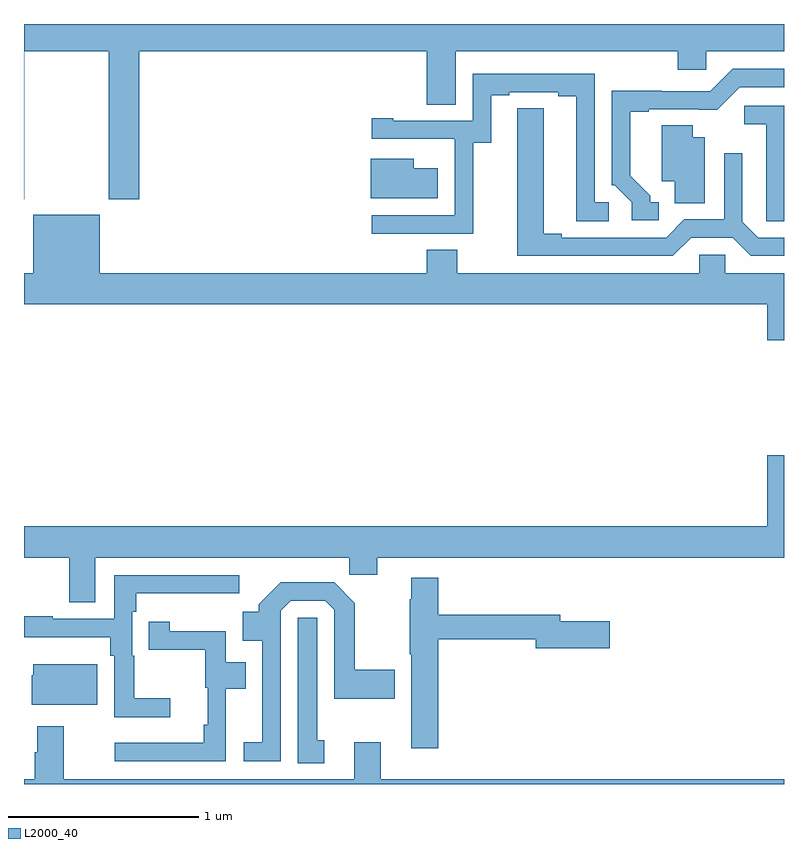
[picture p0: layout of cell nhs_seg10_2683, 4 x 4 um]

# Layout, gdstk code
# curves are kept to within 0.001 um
import gdstk
lib = gdstk.Library(unit=1e-6, precision=1e-09)
def P(c, l, *ps):  # polygons
    for p in ps: c.add(gdstk.Polygon(p, *l))
L2000_40 = (2000, 40)

nhs_seg10_2683 = lib.new_cell('nhs_seg10_2683')
P(nhs_seg10_2683, L2000_40, [(257.001,1260.356),(257.446,1260.356),(257.446,1259.577),(257.606,1259.577),(257.606,1260.356),(259.121,1260.356),(259.121,1260.076),(259.273,1260.076),(259.273,1260.356),(260.441,1260.356),(260.441,1260.258),(260.592,1260.258),(260.592,1260.356),(261,1260.356),(261,1260.5),(257,1260.5),(257,1259.577),(257.001,1259.577)],
  [(260.341,1259.562),(260.296,1259.562),(260.296,1259.597),(260.191,1259.702),(260.191,1260.039),(260.287,1260.039),(260.287,1260.051),(260.648,1260.05),(260.766,1260.168),(261,1260.168),(261,1260.264),(260.73,1260.264),(260.613,1260.147),(260.357,1260.147),(260.357,1260.149),(260.094,1260.149),(260.094,1259.652),(260.109,1259.652),(260.199,1259.562),(260.199,1259.466),(260.341,1259.466)],
  [(259.365,1259.875),(259.459,1259.875),(259.459,1260.126),(259.555,1260.126),(259.555,1260.141),(259.811,1260.141),(259.811,1260.121),(259.907,1260.121),(259.907,1259.461),(260.077,1259.461),(260.077,1259.562),(260.004,1259.562),(260.004,1260.237),(259.362,1260.237),(259.362,1259.991),(258.943,1259.991),(258.943,1260.004),(258.831,1260.004),(258.831,1259.895),(259.265,1259.895),(259.265,1259.894),(259.266,1259.894),(259.266,1259.493),(258.831,1259.493),(258.831,1259.397),(259.365,1259.397)],
  [(261,1260.069),(260.79,1260.069),(260.79,1259.972),(260.906,1259.972),(260.906,1259.569),(260.907,1259.569),(260.907,1259.461),(261,1259.461)],
  [(260.511,1259.376),(260.729,1259.376),(260.825,1259.28),(261,1259.28),(261,1259.376),(260.865,1259.376),(260.781,1259.46),(260.781,1259.821),(260.685,1259.821),(260.685,1259.472),(260.475,1259.472),(260.379,1259.376),(259.831,1259.376),(259.831,1259.396),(259.735,1259.396),(259.735,1260.056),(259.596,1260.056),(259.595,1259.28),(260.415,1259.28)],
  [(260.584,1259.905),(260.521,1259.905),(260.521,1259.966),(260.357,1259.966),(260.357,1259.672),(260.426,1259.672),(260.426,1259.557),(260.584,1259.557)],
  [(259.177,1259.74),(259.051,1259.74),(259.051,1259.791),(258.824,1259.791),(258.824,1259.582),(259.177,1259.582)],
  [(261,1259.188),(260.691,1259.188),(260.691,1259.286),(260.553,1259.286),(260.553,1259.188),(259.281,1259.188),(259.281,1259.312),(259.121,1259.312),(259.121,1259.188),(257.398,1259.188),(257.398,1259.497),(257.048,1259.497),(257.048,1259.188),(257,1259.188),(257,1259.024),(260.912,1259.024),(260.912,1258.836),(261,1258.836)],
  [(257.374,1257.692),(258.712,1257.692),(258.712,1257.602),(258.859,1257.602),(258.859,1257.692),(261,1257.692),(261,1258.231),(260.912,1258.231),(260.912,1257.856),(257,1257.856),(257,1257.692),(257.239,1257.692),(257.239,1257.456),(257.374,1257.456)],
  [(257.77,1256.952),(257.581,1256.952),(257.581,1257.176),(257.571,1257.176),(257.571,1257.407),(257.591,1257.407),(257.591,1257.503),(258.133,1257.503),(258.133,1257.6),(257.475,1257.6),(257.475,1257.369),(257.15,1257.369),(257.15,1257.382),(257,1257.382),(257,1257.272),(257.455,1257.272),(257.455,1257.176),(257.475,1257.176),(257.475,1256.852),(257.77,1256.852)],
  [(259.181,1257.262),(259.694,1257.262),(259.694,1257.215),(260.083,1257.215),(260.083,1257.357),(259.822,1257.357),(259.822,1257.391),(259.181,1257.391),(259.181,1257.586),(259.037,1257.586),(259.037,1257.473),(259.029,1257.473),(259.029,1257.184),(259.037,1257.184),(259.037,1256.688),(259.181,1256.688)],
  [(258.351,1257.411),(258.405,1257.465),(258.585,1257.465),(258.633,1257.417),(258.633,1256.948),(258.952,1256.948),(258.952,1257.101),(258.742,1257.101),(258.742,1257.452),(258.632,1257.562),(258.352,1257.562),(258.235,1257.445),(258.235,1257.406),(258.152,1257.406),(258.152,1257.254),(258.255,1257.254),(258.255,1256.72),(258.156,1256.72),(258.156,1256.619),(258.351,1256.619)],
  [(258.58,1256.73),(258.544,1256.73),(258.544,1257.375),(258.44,1257.375),(258.44,1256.61),(258.58,1256.61)],
  [(258.063,1257.002),(258.166,1257.002),(258.166,1257.142),(258.063,1257.142),(258.063,1257.305),(257.767,1257.305),(257.767,1257.355),(257.656,1257.355),(257.656,1257.206),(257.955,1257.206),(257.955,1257.006),(257.966,1257.006),(257.966,1256.812),(257.947,1256.812),(257.947,1256.716),(257.478,1256.716),(257.478,1256.619),(258.063,1256.619)],
  [(257.386,1257.13),(257.048,1257.13),(257.048,1257.072),(257.042,1257.072),(257.042,1256.918),(257.386,1256.918)],
  [(261,1256.524),(258.877,1256.524),(258.877,1256.719),(258.737,1256.719),(258.737,1256.524),(257.209,1256.524),(257.209,1256.803),(257.069,1256.803),(257.069,1256.666),(257.057,1256.666),(257.057,1256.524),(257,1256.524),(257,1256.5),(261,1256.5)])

lib.write_gds('nhs_seg10_2683.gds')
